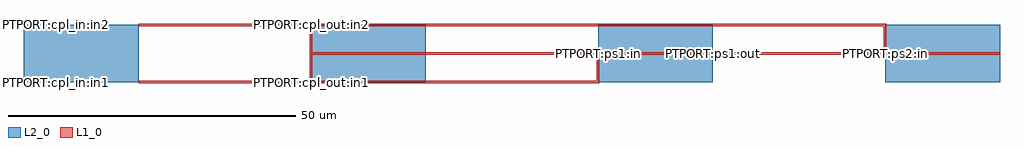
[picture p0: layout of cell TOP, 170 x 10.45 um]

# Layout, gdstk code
import gdstk
lib = gdstk.Library(unit=1e-6, precision=1e-09)
def R(c, l, rs):  # rectangles x0, y0, x1, y1
    for r in rs: c.add(gdstk.rectangle(r[:2], r[2:], *l))
def A(c, l, x, y, w, h, nx, ny, dx, dy):  # array of equal rectangles
    R(c, l, [(x+i*dx, y+j*dy, x+i*dx+w, y+j*dy+h) for i in range(nx) for j in range(ny)])
L1_0 = (1, 0)
L2_0 = (2, 0)

top = lib.new_cell('TOP')
A(top, L2_0, -10, -5, 20, 10, 4, 1, 50, 0)
top.add(gdstk.FlexPath([(10,-5),(90,-5),(90,0)], 0.45, ends="flush", simple_path=True, layer=1, datatype=0))  # L1_0
top.add(gdstk.FlexPath([(10,5),(140,5),(140,0)], 0.45, ends="flush", simple_path=True, layer=1, datatype=0))  # L1_0
top.add(gdstk.FlexPath([(110,0),(40,0),(40,-5)], 0.45, ends="flush", simple_path=True, layer=1, datatype=0))  # L1_0
top.add(gdstk.FlexPath([(160,0),(40,0),(40,5)], 0.45, ends="flush", simple_path=True, layer=1, datatype=0))  # L1_0
top.add(gdstk.Label('PTPORT:cpl_in:in1', (-10,-5), layer=10, texttype=0))
top.add(gdstk.Label('PTPORT:cpl_in:in2', (-10,5), layer=10, texttype=0))
top.add(gdstk.Label('PTPORT:cpl_in:out1', (10,-5), layer=10, texttype=0))
top.add(gdstk.Label('PTPORT:cpl_in:out2', (10,5), layer=10, texttype=0))
top.add(gdstk.Label('PTPORT:cpl_out:in1', (40,-5), layer=10, texttype=0))
top.add(gdstk.Label('PTPORT:cpl_out:in2', (40,5), layer=10, texttype=0))
top.add(gdstk.Label('PTPORT:cpl_out:out1', (60,-5), layer=10, texttype=0))
top.add(gdstk.Label('PTPORT:cpl_out:out2', (60,5), layer=10, texttype=0))
top.add(gdstk.Label('PTPORT:ps1:in', (90,0), layer=10, texttype=0))
top.add(gdstk.Label('PTPORT:ps1:out', (110,0), layer=10, texttype=0))
top.add(gdstk.Label('PTPORT:ps2:in', (140,0), layer=10, texttype=0))
top.add(gdstk.Label('PTPORT:ps2:out', (160,0), layer=10, texttype=0))

lib.write_gds('TOP.gds')
